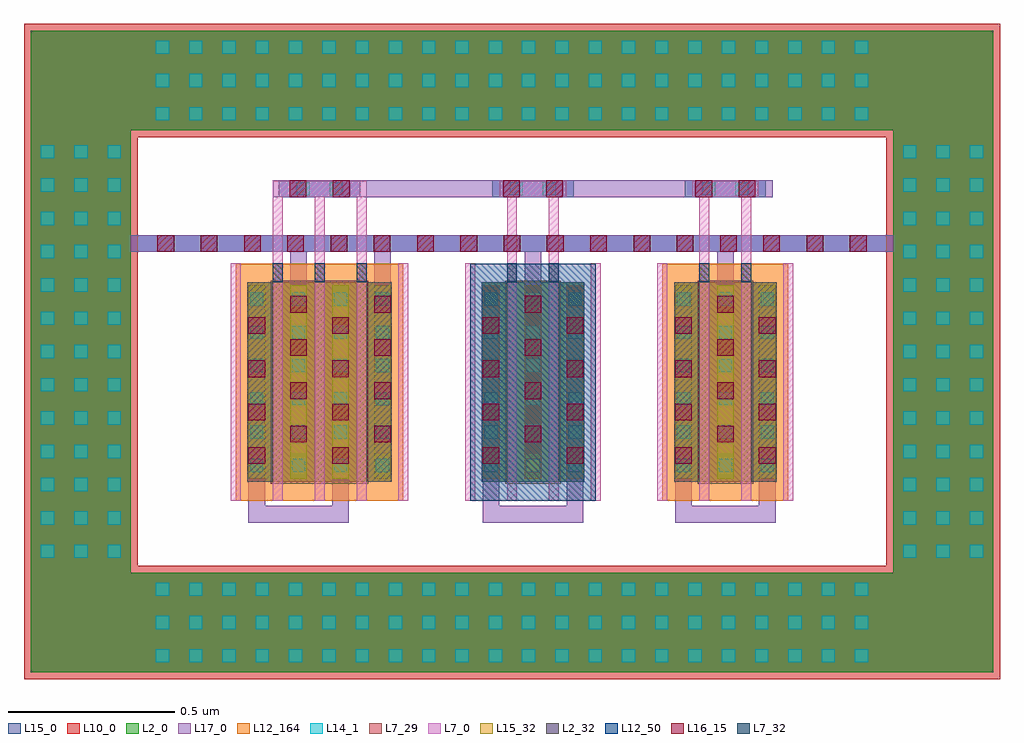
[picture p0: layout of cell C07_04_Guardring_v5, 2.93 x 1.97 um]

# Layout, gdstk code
import gdstk
lib = gdstk.Library(unit=1e-6, precision=1e-09)
def R(c, l, rs):  # rectangles x0, y0, x1, y1
    for r in rs: c.add(gdstk.rectangle(r[:2], r[2:], *l))
def A(c, l, x, y, w, h, nx, ny, dx, dy):  # array of equal rectangles
    R(c, l, [(x+i*dx, y+j*dy, x+i*dx+w, y+j*dy+h) for i in range(nx) for j in range(ny)])
L2_0 = (2, 0)
L2_32 = (2, 32)
L7_0 = (7, 0)
L7_29 = (7, 29)
L7_32 = (7, 32)
L10_0 = (10, 0)
L12_50 = (12, 50)
L12_164 = (12, 164)
L14_1 = (14, 1)
L15_0 = (15, 0)
L15_32 = (15, 32)
L16_15 = (16, 15)
L17_0 = (17, 0)

c07_04_guardring_v5_srf_ = lib.new_cell('C07_04_Guardring_v5:SRF_Tr12Tr3Tr10:SRF_Tr12:SRF_Source_ViaM1M2:SRF_ViaM1M2')
R(c07_04_guardring_v5_srf_, L15_0, [(0,-0.422,0.05,0.082)])
A(c07_04_guardring_v5_srf_, L16_15, 0, -0.39, 0.05, 0.05, 1, 4, 0, 0.13)
R(c07_04_guardring_v5_srf_, L17_0, [(0,-0.422,0.05,0.082)])

c_c07_04_guardring_v5_srf_ = lib.new_cell('C07_04_Guardring_v5:SRF_Tr12Tr3Tr10:SRF_Tr12:SRF_Source_ViaM1M2')
c_c07_04_guardring_v5_srf_.add(gdstk.Reference(c07_04_guardring_v5_srf_, (-0.025,0.17)))

c_c07_04_guardring_v5_srf__ = lib.new_cell('C07_04_Guardring_v5:SRF_Tr12Tr3Tr10:SRF_Tr12:SRF_Drain_ViaM1M2:SRF_ViaM1M2')
R(c_c07_04_guardring_v5_srf__, L15_0, [(0,-0.422,0.05,0.082)])
A(c_c07_04_guardring_v5_srf__, L16_15, 0, -0.39, 0.05, 0.05, 1, 4, 0, 0.13)
R(c_c07_04_guardring_v5_srf__, L17_0, [(0,-0.422,0.05,0.082)])

c_c07_04_guardring_v5_srf___ = lib.new_cell('C07_04_Guardring_v5:SRF_Tr12Tr3Tr10:SRF_Tr12:SRF_Drain_ViaM1M2')
c_c07_04_guardring_v5_srf___.add(gdstk.Reference(c_c07_04_guardring_v5_srf__, (-0.025,0.17)))

c_c07_04_guardring_v5_srf____ = lib.new_cell('C07_04_Guardring_v5:SRF_Tr12Tr3Tr10:SRF_Tr12:SRF_Gate_ViaM0Mx:SRF_ViaM0M1')
R(c_c07_04_guardring_v5_srf____, L7_0, [(-0.01,-0.004,0.15,0.044)])
R(c_c07_04_guardring_v5_srf____, L14_1, [(0,0,0.04,0.04), (0.1,0,0.14,0.04)])
R(c_c07_04_guardring_v5_srf____, L15_0, [(-0.021,-0.005,0.161,0.045)])

c_c07_04_guardring_v5_srf_____ = lib.new_cell('C07_04_Guardring_v5:SRF_Tr12Tr3Tr10:SRF_Tr12:SRF_Gate_ViaM0Mx:SRF_ViaM1M2')
R(c_c07_04_guardring_v5_srf_____, L15_0, [(-0.032,0,0.212,0.05)])
R(c_c07_04_guardring_v5_srf_____, L16_15, [(0,0,0.05,0.05), (0.13,0,0.18,0.05)])
R(c_c07_04_guardring_v5_srf_____, L17_0, [(-0.032,0,0.212,0.05)])

c_c07_04_guardring_v5_srf______ = lib.new_cell('C07_04_Guardring_v5:SRF_Tr12Tr3Tr10:SRF_Tr12:SRF_Gate_ViaM0Mx')
c_c07_04_guardring_v5_srf______.add(gdstk.Reference(c_c07_04_guardring_v5_srf____, (-0.07,-0.02)))
c_c07_04_guardring_v5_srf______.add(gdstk.Reference(c_c07_04_guardring_v5_srf_____, (-0.09,-0.025)))

c_c07_04_guardring_v5_srf_______ = lib.new_cell('C07_04_Guardring_v5:SRF_Tr12Tr3Tr10:SRF_Tr12')
R(c_c07_04_guardring_v5_srf_______, L2_0, [(-0.076,0.057,0.358,0.657)])
R(c_c07_04_guardring_v5_srf_______, L2_32, [(-0.076,0.057,0,0.657), (0.282,0.057,0.358,0.657)])
A(c_c07_04_guardring_v5_srf_______, L7_0, -0.126, 0, 0.03, 0.714, 5, 1, 0.126, 0)
A(c_c07_04_guardring_v5_srf_______, L7_0, 0, 0.714, 0.03, 0.2, 3, 1, 0.126, 0)
R(c_c07_04_guardring_v5_srf_______, L7_0, [(0,0.914,0.282,0.962)])
R(c_c07_04_guardring_v5_srf_______, L7_29, [(-0.005,0.052,0.287,0.662)])
A(c_c07_04_guardring_v5_srf_______, L7_32, 0, 0.657, 0.03, 0.057, 3, 1, 0.126, 0)
R(c_c07_04_guardring_v5_srf_______, L12_164, [(-0.111,0.001,0.393,0.713)])
A(c_c07_04_guardring_v5_srf_______, L14_1, -0.068, 0.087, 0.04, 0.04, 4, 6, 0.126, 0.1)
R(c_c07_04_guardring_v5_srf_______, L15_0, [(-0.073,0.066,-0.023,0.648), (-0.073,0.066,-0.023,0.648), (0.053,0.066,0.103,0.648), (0.053,0.066,0.103,0.648), (0.179,0.066,0.229,0.648), (0.179,0.066,0.229,0.648), (0.305,0.066,0.355,0.648), (0.305,0.066,0.355,0.648)])
A(c_c07_04_guardring_v5_srf_______, L15_32, -0.073, 0.066, 0.05, 0.582, 4, 1, 0.126, 0)
R(c_c07_04_guardring_v5_srf_______, L17_0, [(-0.073,-0.065,0.229,-0.015), (-0.073,-0.015,-0.023,0.584), (0.179,-0.015,0.229,0.584), (0.053,0.648,0.103,0.748), (0.305,0.648,0.355,0.748), (0.053,0.748,0.355,0.798), (0,0.913,0.282,0.963)])
c_c07_04_guardring_v5_srf_______.add(gdstk.Reference(c_c07_04_guardring_v5_srf_, (-0.048,0.332)))
c_c07_04_guardring_v5_srf_______.add(gdstk.Reference(c_c07_04_guardring_v5_srf_, (0.204,0.332)))
c_c07_04_guardring_v5_srf_______.add(gdstk.Reference(c_c07_04_guardring_v5_srf___, (0.078,0.396)))
c_c07_04_guardring_v5_srf_______.add(gdstk.Reference(c_c07_04_guardring_v5_srf___, (0.33,0.396)))
c_c07_04_guardring_v5_srf_______.add(gdstk.Reference(c_c07_04_guardring_v5_srf______, (0.141,0.938)))

c_c07_04_guardring_v5_srf________ = lib.new_cell('C07_04_Guardring_v5:SRF_Tr12Tr3Tr10:SRF_Tr3:SRF_Source_ViaM1M2:SRF_ViaM1M2')
R(c_c07_04_guardring_v5_srf________, L15_0, [(0,-0.422,0.05,0.082)])
A(c_c07_04_guardring_v5_srf________, L16_15, 0, -0.39, 0.05, 0.05, 1, 4, 0, 0.13)
R(c_c07_04_guardring_v5_srf________, L17_0, [(0,-0.422,0.05,0.082)])

c_c07_04_guardring_v5_srf_________ = lib.new_cell('C07_04_Guardring_v5:SRF_Tr12Tr3Tr10:SRF_Tr3:SRF_Source_ViaM1M2')
c_c07_04_guardring_v5_srf_________.add(gdstk.Reference(c_c07_04_guardring_v5_srf________, (-0.025,0.17)))

c_c07_04_guardring_v5_srf__________ = lib.new_cell('C07_04_Guardring_v5:SRF_Tr12Tr3Tr10:SRF_Tr3:SRF_Drain_ViaM1M2:SRF_ViaM1M2')
R(c_c07_04_guardring_v5_srf__________, L15_0, [(0,-0.422,0.05,0.082)])
A(c_c07_04_guardring_v5_srf__________, L16_15, 0, -0.39, 0.05, 0.05, 1, 4, 0, 0.13)
R(c_c07_04_guardring_v5_srf__________, L17_0, [(0,-0.422,0.05,0.082)])

c_c07_04_guardring_v5_srf___________ = lib.new_cell('C07_04_Guardring_v5:SRF_Tr12Tr3Tr10:SRF_Tr3:SRF_Drain_ViaM1M2')
c_c07_04_guardring_v5_srf___________.add(gdstk.Reference(c_c07_04_guardring_v5_srf__________, (-0.025,0.17)))

c_c07_04_guardring_v5_srf____________ = lib.new_cell('C07_04_Guardring_v5:SRF_Tr12Tr3Tr10:SRF_Tr3:SRF_Gate_ViaM0Mx:SRF_ViaM0M1')
R(c_c07_04_guardring_v5_srf____________, L7_0, [(-0.01,-0.004,0.15,0.044)])
R(c_c07_04_guardring_v5_srf____________, L14_1, [(0,0,0.04,0.04), (0.1,0,0.14,0.04)])
R(c_c07_04_guardring_v5_srf____________, L15_0, [(-0.021,-0.005,0.161,0.045)])

c_c07_04_guardring_v5_srf_____________ = lib.new_cell('C07_04_Guardring_v5:SRF_Tr12Tr3Tr10:SRF_Tr3:SRF_Gate_ViaM0Mx:SRF_ViaM1M2')
R(c_c07_04_guardring_v5_srf_____________, L15_0, [(-0.032,0,0.212,0.05)])
R(c_c07_04_guardring_v5_srf_____________, L16_15, [(0,0,0.05,0.05), (0.13,0,0.18,0.05)])
R(c_c07_04_guardring_v5_srf_____________, L17_0, [(-0.032,0,0.212,0.05)])

c_c07_04_guardring_v5_srf______________ = lib.new_cell('C07_04_Guardring_v5:SRF_Tr12Tr3Tr10:SRF_Tr3:SRF_Gate_ViaM0Mx')
c_c07_04_guardring_v5_srf______________.add(gdstk.Reference(c_c07_04_guardring_v5_srf____________, (-0.07,-0.02)))
c_c07_04_guardring_v5_srf______________.add(gdstk.Reference(c_c07_04_guardring_v5_srf_____________, (-0.09,-0.025)))

c_c07_04_guardring_v5_srf_______________ = lib.new_cell('C07_04_Guardring_v5:SRF_Tr12Tr3Tr10:SRF_Tr3')
R(c_c07_04_guardring_v5_srf_______________, L2_0, [(-0.076,0.057,0.232,0.657)])
R(c_c07_04_guardring_v5_srf_______________, L2_32, [(-0.076,0.057,0,0.657), (0.156,0.057,0.232,0.657)])
A(c_c07_04_guardring_v5_srf_______________, L7_0, -0.126, 0, 0.03, 0.714, 4, 1, 0.126, 0)
R(c_c07_04_guardring_v5_srf_______________, L7_0, [(0,0.714,0.03,0.914), (0.126,0.714,0.156,0.914), (-0.022,0.914,0.178,0.962)])
R(c_c07_04_guardring_v5_srf_______________, L7_29, [(-0.005,0.052,0.161,0.662)])
R(c_c07_04_guardring_v5_srf_______________, L7_32, [(0,0.657,0.03,0.714), (0.126,0.657,0.156,0.714)])
R(c_c07_04_guardring_v5_srf_______________, L12_50, [(-0.111,0.001,0.267,0.713)])
A(c_c07_04_guardring_v5_srf_______________, L14_1, -0.068, 0.087, 0.04, 0.04, 3, 6, 0.126, 0.1)
R(c_c07_04_guardring_v5_srf_______________, L15_0, [(-0.073,0.066,-0.023,0.648), (-0.073,0.066,-0.023,0.648), (0.053,0.066,0.103,0.648), (0.053,0.066,0.103,0.648), (0.179,0.066,0.229,0.648), (0.179,0.066,0.229,0.648)])
A(c_c07_04_guardring_v5_srf_______________, L15_32, -0.073, 0.066, 0.05, 0.582, 3, 1, 0.126, 0)
R(c_c07_04_guardring_v5_srf_______________, L17_0, [(-0.073,-0.065,0.229,-0.015), (-0.073,-0.015,-0.023,0.584), (0.179,-0.015,0.229,0.584), (0.053,0.648,0.103,0.748), (0.053,0.748,0.103,0.798), (-0.064,0.913,0.22,0.963)])
c_c07_04_guardring_v5_srf_______________.add(gdstk.Reference(c_c07_04_guardring_v5_srf_________, (-0.048,0.332)))
c_c07_04_guardring_v5_srf_______________.add(gdstk.Reference(c_c07_04_guardring_v5_srf_________, (0.204,0.332)))
c_c07_04_guardring_v5_srf_______________.add(gdstk.Reference(c_c07_04_guardring_v5_srf___________, (0.078,0.396)))
c_c07_04_guardring_v5_srf_______________.add(gdstk.Reference(c_c07_04_guardring_v5_srf______________, (0.078,0.938)))

c_c07_04_guardring_v5_srf________________ = lib.new_cell('C07_04_Guardring_v5:SRF_Tr12Tr3Tr10:SRF_Tr10:SRF_Source_ViaM1M2:SRF_ViaM1M2')
R(c_c07_04_guardring_v5_srf________________, L15_0, [(0,-0.422,0.05,0.082)])
A(c_c07_04_guardring_v5_srf________________, L16_15, 0, -0.39, 0.05, 0.05, 1, 4, 0, 0.13)
R(c_c07_04_guardring_v5_srf________________, L17_0, [(0,-0.422,0.05,0.082)])

c_c07_04_guardring_v5_srf_________________ = lib.new_cell('C07_04_Guardring_v5:SRF_Tr12Tr3Tr10:SRF_Tr10:SRF_Source_ViaM1M2')
c_c07_04_guardring_v5_srf_________________.add(gdstk.Reference(c_c07_04_guardring_v5_srf________________, (-0.025,0.17)))

c_c07_04_guardring_v5_srf__________________ = lib.new_cell('C07_04_Guardring_v5:SRF_Tr12Tr3Tr10:SRF_Tr10:SRF_Drain_ViaM1M2:SRF_ViaM1M2')
R(c_c07_04_guardring_v5_srf__________________, L15_0, [(0,-0.422,0.05,0.082)])
A(c_c07_04_guardring_v5_srf__________________, L16_15, 0, -0.39, 0.05, 0.05, 1, 4, 0, 0.13)
R(c_c07_04_guardring_v5_srf__________________, L17_0, [(0,-0.422,0.05,0.082)])

c_c07_04_guardring_v5_srf___________________ = lib.new_cell('C07_04_Guardring_v5:SRF_Tr12Tr3Tr10:SRF_Tr10:SRF_Drain_ViaM1M2')
c_c07_04_guardring_v5_srf___________________.add(gdstk.Reference(c_c07_04_guardring_v5_srf__________________, (-0.025,0.17)))

c_c07_04_guardring_v5_srf____________________ = lib.new_cell('C07_04_Guardring_v5:SRF_Tr12Tr3Tr10:SRF_Tr10:SRF_Gate_ViaM0Mx:SRF_ViaM0M1')
R(c_c07_04_guardring_v5_srf____________________, L7_0, [(-0.01,-0.004,0.15,0.044)])
R(c_c07_04_guardring_v5_srf____________________, L14_1, [(0,0,0.04,0.04), (0.1,0,0.14,0.04)])
R(c_c07_04_guardring_v5_srf____________________, L15_0, [(-0.021,-0.005,0.161,0.045)])

c_c07_04_guardring_v5_srf_____________________ = lib.new_cell('C07_04_Guardring_v5:SRF_Tr12Tr3Tr10:SRF_Tr10:SRF_Gate_ViaM0Mx:SRF_ViaM1M2')
R(c_c07_04_guardring_v5_srf_____________________, L15_0, [(-0.032,0,0.212,0.05)])
R(c_c07_04_guardring_v5_srf_____________________, L16_15, [(0,0,0.05,0.05), (0.13,0,0.18,0.05)])
R(c_c07_04_guardring_v5_srf_____________________, L17_0, [(-0.032,0,0.212,0.05)])

c_c07_04_guardring_v5_srf______________________ = lib.new_cell('C07_04_Guardring_v5:SRF_Tr12Tr3Tr10:SRF_Tr10:SRF_Gate_ViaM0Mx')
c_c07_04_guardring_v5_srf______________________.add(gdstk.Reference(c_c07_04_guardring_v5_srf____________________, (-0.07,-0.02)))
c_c07_04_guardring_v5_srf______________________.add(gdstk.Reference(c_c07_04_guardring_v5_srf_____________________, (-0.09,-0.025)))

c_c07_04_guardring_v5_srf_______________________ = lib.new_cell('C07_04_Guardring_v5:SRF_Tr12Tr3Tr10:SRF_Tr10')
R(c_c07_04_guardring_v5_srf_______________________, L2_0, [(-0.076,0.057,0.232,0.657)])
R(c_c07_04_guardring_v5_srf_______________________, L2_32, [(-0.076,0.057,0,0.657), (0.156,0.057,0.232,0.657)])
A(c_c07_04_guardring_v5_srf_______________________, L7_0, -0.126, 0, 0.03, 0.714, 4, 1, 0.126, 0)
R(c_c07_04_guardring_v5_srf_______________________, L7_0, [(0,0.714,0.03,0.914), (0.126,0.714,0.156,0.914), (-0.022,0.914,0.178,0.962)])
R(c_c07_04_guardring_v5_srf_______________________, L7_29, [(-0.005,0.052,0.161,0.662)])
R(c_c07_04_guardring_v5_srf_______________________, L7_32, [(0,0.657,0.03,0.714), (0.126,0.657,0.156,0.714)])
R(c_c07_04_guardring_v5_srf_______________________, L12_164, [(-0.111,0.001,0.267,0.713)])
A(c_c07_04_guardring_v5_srf_______________________, L14_1, -0.068, 0.087, 0.04, 0.04, 3, 6, 0.126, 0.1)
R(c_c07_04_guardring_v5_srf_______________________, L15_0, [(-0.073,0.066,-0.023,0.648), (-0.073,0.066,-0.023,0.648), (0.053,0.066,0.103,0.648), (0.053,0.066,0.103,0.648), (0.179,0.066,0.229,0.648), (0.179,0.066,0.229,0.648)])
A(c_c07_04_guardring_v5_srf_______________________, L15_32, -0.073, 0.066, 0.05, 0.582, 3, 1, 0.126, 0)
R(c_c07_04_guardring_v5_srf_______________________, L17_0, [(-0.073,-0.065,0.229,-0.015), (-0.073,-0.015,-0.023,0.584), (0.179,-0.015,0.229,0.584), (0.053,0.648,0.103,0.748), (0.053,0.748,0.103,0.798), (-0.064,0.913,0.22,0.963)])
c_c07_04_guardring_v5_srf_______________________.add(gdstk.Reference(c_c07_04_guardring_v5_srf_________________, (-0.048,0.332)))
c_c07_04_guardring_v5_srf_______________________.add(gdstk.Reference(c_c07_04_guardring_v5_srf_________________, (0.204,0.332)))
c_c07_04_guardring_v5_srf_______________________.add(gdstk.Reference(c_c07_04_guardring_v5_srf___________________, (0.078,0.396)))
c_c07_04_guardring_v5_srf_______________________.add(gdstk.Reference(c_c07_04_guardring_v5_srf______________________, (0.078,0.938)))

c_c07_04_guardring_v5_srf________________________ = lib.new_cell('C07_04_Guardring_v5:SRF_Tr12Tr3Tr10')
c_c07_04_guardring_v5_srf________________________.add(gdstk.Reference(c_c07_04_guardring_v5_srf_______, (0,0)))
c_c07_04_guardring_v5_srf________________________.add(gdstk.Reference(c_c07_04_guardring_v5_srf_______________, (0.704,0)))
c_c07_04_guardring_v5_srf________________________.add(gdstk.Reference(c_c07_04_guardring_v5_srf_______________________, (1.282,0)))

c07_04_guardring_v5__pbo = lib.new_cell('C07_04_Guardring_v5:_Pbodyring:SRF_PbodyTop:SRF_PbodyContactPhyLen')
R(c07_04_guardring_v5__pbo, L2_0, [(-0.075,-0.23,2.215,0.07)])
R(c07_04_guardring_v5__pbo, L10_0, [(-0.096,-0.251,2.236,0.091)])
A(c07_04_guardring_v5__pbo, L14_1, 0, -0.2, 0.04, 0.04, 22, 3, 0.1, 0.1)
R(c07_04_guardring_v5__pbo, L15_0, [(-0.075,-0.23,2.215,0.07)])

c_c07_04_guardring_v5__pbo = lib.new_cell('C07_04_Guardring_v5:_Pbodyring:SRF_PbodyTop')
c_c07_04_guardring_v5__pbo.add(gdstk.Reference(c07_04_guardring_v5__pbo, (0,0)))

c_c07_04_guardring_v5__pbo_ = lib.new_cell('C07_04_Guardring_v5:_Pbodyring:SRF_PbodyBottom:SRF_PbodyContactPhyLen')
R(c_c07_04_guardring_v5__pbo_, L2_0, [(-0.075,-0.23,2.215,0.07)])
R(c_c07_04_guardring_v5__pbo_, L10_0, [(-0.096,-0.251,2.236,0.091)])
A(c_c07_04_guardring_v5__pbo_, L14_1, 0, -0.2, 0.04, 0.04, 22, 3, 0.1, 0.1)
R(c_c07_04_guardring_v5__pbo_, L15_0, [(-0.075,-0.23,2.215,0.07)])

c_c07_04_guardring_v5__pbo__ = lib.new_cell('C07_04_Guardring_v5:_Pbodyring:SRF_PbodyBottom')
c_c07_04_guardring_v5__pbo__.add(gdstk.Reference(c_c07_04_guardring_v5__pbo_, (0,0)))

c_c07_04_guardring_v5__pbo___ = lib.new_cell('C07_04_Guardring_v5:_Pbodyring:SRF_PbodyLeft:SRF_PbodyContactPhyLen')
R(c_c07_04_guardring_v5__pbo___, L2_0, [(-0.03,-1.244,0.27,0.084)])
R(c_c07_04_guardring_v5__pbo___, L10_0, [(-0.051,-1.265,0.291,0.105)])
A(c_c07_04_guardring_v5__pbo___, L14_1, 0, -1.2, 0.04, 0.04, 3, 13, 0.1, 0.1)
R(c_c07_04_guardring_v5__pbo___, L15_0, [(-0.03,-1.244,0.27,0.084)])

c_c07_04_guardring_v5__pbo____ = lib.new_cell('C07_04_Guardring_v5:_Pbodyring:SRF_PbodyLeft')
c_c07_04_guardring_v5__pbo____.add(gdstk.Reference(c_c07_04_guardring_v5__pbo___, (0,0)))

c_c07_04_guardring_v5__pbo_____ = lib.new_cell('C07_04_Guardring_v5:_Pbodyring:SRF_PbodyRight:SRF_PbodyContactPhyLen')
R(c_c07_04_guardring_v5__pbo_____, L2_0, [(-0.03,-1.244,0.27,0.084)])
R(c_c07_04_guardring_v5__pbo_____, L10_0, [(-0.051,-1.265,0.291,0.105)])
A(c_c07_04_guardring_v5__pbo_____, L14_1, 0, -1.2, 0.04, 0.04, 3, 13, 0.1, 0.1)
R(c_c07_04_guardring_v5__pbo_____, L15_0, [(-0.03,-1.244,0.27,0.084)])

c_c07_04_guardring_v5__pbo______ = lib.new_cell('C07_04_Guardring_v5:_Pbodyring:SRF_PbodyRight')
c_c07_04_guardring_v5__pbo______.add(gdstk.Reference(c_c07_04_guardring_v5__pbo_____, (0,0)))

c_c07_04_guardring_v5__pbo_______ = lib.new_cell('C07_04_Guardring_v5:_Pbodyring')
R(c_c07_04_guardring_v5__pbo_______, L2_0, [(-0.375,-1.858,2.515,-1.558), (-0.375,-1.858,-0.075,0.07), (2.215,-1.858,2.515,0.07), (-0.375,-0.23,2.515,0.07)])
R(c_c07_04_guardring_v5__pbo_______, L10_0, [(-0.396,-1.879,2.536,-1.537), (-0.396,-1.879,-0.054,0.091), (2.194,-1.879,2.536,0.091), (-0.396,-0.251,2.536,0.091)])
R(c_c07_04_guardring_v5__pbo_______, L15_0, [(-0.375,-1.858,2.515,-1.558), (-0.375,-1.858,-0.075,0.07), (2.215,-1.858,2.515,0.07), (-0.375,-0.23,2.515,0.07)])
c_c07_04_guardring_v5__pbo_______.add(gdstk.Reference(c_c07_04_guardring_v5__pbo, (0,0)))
c_c07_04_guardring_v5__pbo_______.add(gdstk.Reference(c_c07_04_guardring_v5__pbo__, (0,-1.628)))
c_c07_04_guardring_v5__pbo_______.add(gdstk.Reference(c_c07_04_guardring_v5__pbo____, (-0.345,-0.314)))
c_c07_04_guardring_v5__pbo_______.add(gdstk.Reference(c_c07_04_guardring_v5__pbo______, (2.245,-0.314)))

c_c07_04_guardring_v5_srf_________________________ = lib.new_cell('C07_04_Guardring_v5:SRF_Tr12Tr3Tr10_Drain_ViaM1M2:SRF_ViaM1M2')
R(c_c07_04_guardring_v5_srf_________________________, L15_0, [(-0.032,0,2.162,0.05)])
A(c_c07_04_guardring_v5_srf_________________________, L16_15, 0, 0, 0.05, 0.05, 17, 1, 0.13, 0)
R(c_c07_04_guardring_v5_srf_________________________, L17_0, [(-0.032,0,2.162,0.05)])

c_c07_04_guardring_v5_srf__________________________ = lib.new_cell('C07_04_Guardring_v5:SRF_Tr12Tr3Tr10_Drain_ViaM1M2')
c_c07_04_guardring_v5_srf__________________________.add(gdstk.Reference(c_c07_04_guardring_v5_srf_________________________, (-1.065,-0.025)))

c07_04_guardring_v5 = lib.new_cell('C07_04_Guardring_v5')
R(c07_04_guardring_v5, L15_0, [(-0.426,0.748,1.864,0.798)])
R(c07_04_guardring_v5, L17_0, [(-0.426,0.748,1.864,0.798), (0,0.913,1.502,0.963)])
c07_04_guardring_v5.add(gdstk.Reference(c_c07_04_guardring_v5_srf________________________, (0,0)))
c07_04_guardring_v5.add(gdstk.Reference(c_c07_04_guardring_v5__pbo_______, (-0.351,1.343)))
c07_04_guardring_v5.add(gdstk.Reference(c_c07_04_guardring_v5_srf__________________________, (0.719,0.773)))

lib.write_gds('C07_04_Guardring_v5.gds')
